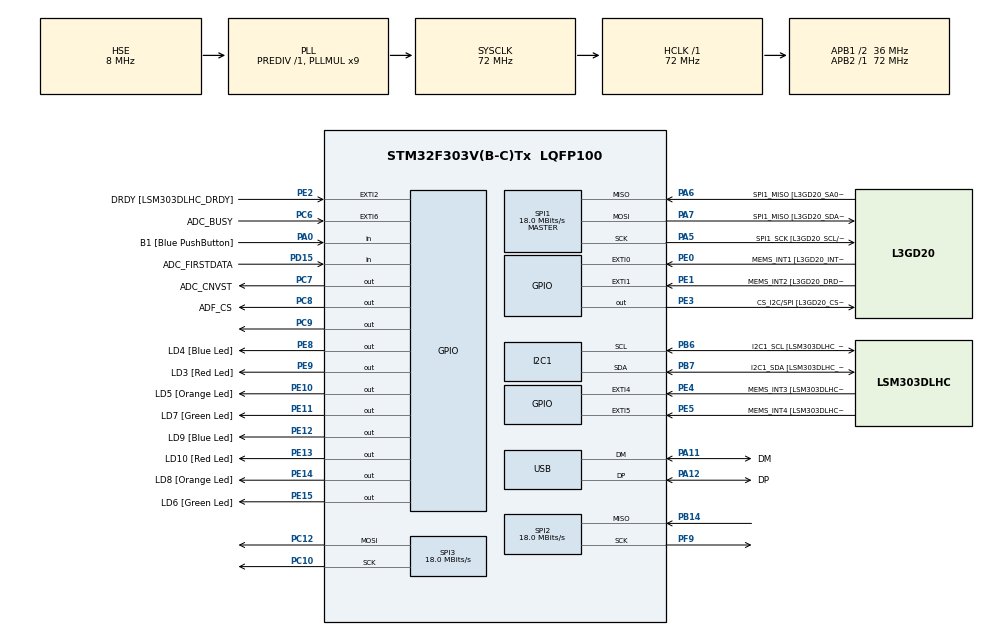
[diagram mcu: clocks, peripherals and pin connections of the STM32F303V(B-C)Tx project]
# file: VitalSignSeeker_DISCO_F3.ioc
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Dma.Request0=SPI2_RX
Dma.SPI2_RX.0.Direction=DMA_PERIPH_TO_MEMORY
Dma.SPI2_RX.0.Instance=DMA1_Channel4
Dma.SPI2_RX.0.MemDataAlignment=DMA_MDATAALIGN_HALFWORD
Dma.SPI2_RX.0.MemInc=DMA_MINC_ENABLE
Dma.SPI2_RX.0.Mode=DMA_NORMAL
Dma.SPI2_RX.0.PeriphDataAlignment=DMA_PDATAALIGN_HALFWORD
Dma.SPI2_RX.0.PeriphInc=DMA_PINC_DISABLE
Dma.SPI2_RX.0.Priority=DMA_PRIORITY_HIGH
FREERTOS.Tasks01=defaultTask,24,128,StartDefaultTask,Default,NULL,Dynamic,NULL,NULL;ADCTask,40,1024,StartTask02,Default,NULL,Dynamic,NULL,NULL;PLLTask,8,128,StartTask03,Default,NULL,Dynamic,NULL,NULL
FREERTOS.configTOTAL_HEAP_SIZE=8000
FREERTOS.configUSE_NEWLIB_REENTRANT=1
I2C1.Timing=0x00201D2B
I2C1.Timing-I2C=0x2000090E
Mcu.Family=STM32F3
Mcu.Name=STM32F303V(B-C)Tx
Mcu.Package=LQFP100
NVIC.DMA1_Channel4_IRQn=true\:5\:0\:false\:false\:true\:true\:false\:true\:true
NVIC.PriorityGroup=NVIC_PRIORITYGROUP_4
NVIC.SPI2_IRQn=true\:5\:0\:false\:false\:true\:true\:true\:true\:true
NVIC.TIM8_UP_IRQn=true\:15\:0\:false\:false\:true\:false\:false\:true\:true
NVIC.TimeBase=TIM8_UP_IRQn
NVIC.TimeBaseIP=TIM8
NVIC.USB_LP_CAN_RX0_IRQn=true\:5\:0\:false\:false\:true\:true\:false\:true\:true
PA0.GPIO_Label=B1 [Blue PushButton]
PA0.Signal=GPIO_Input
PA11.GPIO_Label=DM
PA11.Mode=Device
PA11.Signal=USB_DM
PA12.GPIO_Label=DP
PA12.Mode=Device
PA12.Signal=USB_DP
PA13.GPIO_Label=SWDIO
PA13.Mode=Serial_Wire
PA13.Signal=SYS_JTMS-SWDIO
PA14.GPIO_Label=SWCLK
PA14.Mode=Serial_Wire
PA14.Signal=SYS_JTCK-SWCLK
PA5.GPIO_Label=SPI1_SCK [L3GD20_SCL/SPC]
PA5.Mode=Full_Duplex_Master
PA5.Signal=SPI1_SCK
PA6.GPIO_Label=SPI1_MISO [L3GD20_SA0/SDO]
PA6.Mode=Full_Duplex_Master
PA6.Signal=SPI1_MISO
PA7.GPIO_Label=SPI1_MISO [L3GD20_SDA/SDI/SDO]
PA7.Mode=Full_Duplex_Master
PA7.Signal=SPI1_MOSI
PB14.Mode=RX_Only_Simplex_Unidirect_Master
PB14.Signal=SPI2_MISO
PB3.GPIO_Label=SWO
PB3.Signal=SYS_JTDO-TRACESWO
PB6.GPIO_Label=I2C1_SCL [LSM303DLHC_SCL]
PB6.GPIO_Pu=GPIO_PULLUP
PB6.Mode=I2C
PB6.Signal=I2C1_SCL
PB7.GPIO_Label=I2C1_SDA [LSM303DLHC_SDA]
PB7.GPIO_Pu=GPIO_PULLUP
PB7.Mode=I2C
PB7.Signal=I2C1_SDA
PC10.Mode=TX_Only_Simplex_Unidirect_Master
PC10.Signal=SPI3_SCK
PC12.Mode=TX_Only_Simplex_Unidirect_Master
PC12.Signal=SPI3_MOSI
PC14-OSC32_IN.GPIO_Label=OSC32_IN
PC14-OSC32_IN.Signal=RCC_OSC32_IN
PC15-OSC32_OUT.GPIO_Label=OSC32_OUT
PC15-OSC32_OUT.Signal=RCC_OSC32_OUT
PC6.GPIO_Label=ADC_BUSY
PC6.Signal=GPXTI6
PC7.GPIO_Label=ADC_CNVST
PC7.Signal=GPIO_Output
PC8.GPIO_Label=ADF_CS
PC8.Signal=GPIO_Output
PC9.Signal=GPIO_Output
PD15.GPIO_Label=ADC_FIRSTDATA
PD15.Signal=GPIO_Input
PE0.GPIO_Label=MEMS_INT1 [L3GD20_INT1]
PE0.GPIO_ModeDefaultEXTI=GPIO_MODE_EVT_RISING
PE0.Signal=GPXTI0
PE1.GPIO_Label=MEMS_INT2 [L3GD20_DRDY/INT2]
PE1.GPIO_ModeDefaultEXTI=GPIO_MODE_EVT_RISING
PE1.Signal=GPXTI1
PE10.GPIO_Label=LD5 [Orange Led]
PE10.Signal=GPIO_Output
PE11.GPIO_Label=LD7 [Green Led]
PE11.Signal=GPIO_Output
PE12.GPIO_Label=LD9 [Blue Led]
PE12.Signal=GPIO_Output
PE13.GPIO_Label=LD10 [Red Led]
PE13.Signal=GPIO_Output
PE14.GPIO_Label=LD8 [Orange Led]
PE14.Signal=GPIO_Output
PE15.GPIO_Label=LD6 [Green Led]
PE15.Signal=GPIO_Output
PE2.GPIO_Label=DRDY [LSM303DLHC_DRDY]
PE2.GPIO_ModeDefaultEXTI=GPIO_MODE_EVT_RISING
PE2.Signal=GPXTI2
PE3.GPIO_Label=CS_I2C/SPI [L3GD20_CS_I2C/SPI]
PE3.Signal=GPIO_Output
PE4.GPIO_Label=MEMS_INT3 [LSM303DLHC_INT1]
PE4.GPIO_ModeDefaultEXTI=GPIO_MODE_EVT_RISING
PE4.Signal=GPXTI4
PE5.GPIO_Label=MEMS_INT4 [LSM303DLHC_INT2]
PE5.GPIO_ModeDefaultEXTI=GPIO_MODE_EVT_RISING
PE5.Signal=GPXTI5
PE8.GPIO_Label=LD4 [Blue Led]
PE8.Signal=GPIO_Output
PE9.GPIO_Label=LD3 [Red Led]
PE9.Signal=GPIO_Output
PF0-OSC_IN.GPIO_Label=OSC_IN
PF0-OSC_IN.Mode=HSE-External-Clock-Source
PF0-OSC_IN.Signal=RCC_OSC_IN
PF1-OSC_OUT.GPIO_Label=OSC_OUT
PF1-OSC_OUT.Signal=RCC_OSC_OUT
PF9.Mode=RX_Only_Simplex_Unidirect_Master
PF9.Signal=SPI2_SCK
ProjectManager.HeapSize=0x200
ProjectManager.StackSize=0x400
ProjectManager.TargetToolchain=STM32CubeIDE
RCC.AHBFreq_Value=72000000
RCC.APB1CLKDivider=RCC_HCLK_DIV2
RCC.APB1Freq_Value=36000000
RCC.APB1TimFreq_Value=72000000
RCC.APB2Freq_Value=72000000
RCC.APB2TimFreq_Value=72000000
RCC.CortexFreq_Value=72000000
RCC.HCLKFreq_Value=72000000
RCC.HSE_VALUE=8000000
RCC.HSI_VALUE=8000000
RCC.LSE_VALUE=32768
RCC.PLLMUL=RCC_PLL_MUL9
RCC.PRESCALERUSB=RCC_USBCLKSOURCE_PLL_DIV1_5
RCC.SYSCLKFreq_VALUE=72000000
RCC.SYSCLKSourceVirtual=RCC_SYSCLKSOURCE_PLLCLK
RCC.USBFreq_Value=48000000
SPI1.BaudRatePrescaler=SPI_BAUDRATEPRESCALER_4
SPI1.BaudRatePrescaler-Full_Duplex_Master=SPI_BAUDRATEPRESCALER_2
SPI1.CalculateBaudRate=18.0 MBits/s
SPI1.CalculateBaudRate-Full_Duplex_Master=24.0 MBits/s
SPI1.DataSize=SPI_DATASIZE_16BIT
SPI1.Direction=SPI_DIRECTION_2LINES
SPI1.Mode=SPI_MODE_MASTER
SPI1.Mode-Full_Duplex_Master=SPI_MODE_MASTER
SPI1.VirtualType=VM_MASTER
SPI2.CalculateBaudRate=18.0 MBits/s
SPI2.DataSize=SPI_DATASIZE_16BIT
SPI2.Direction=SPI_DIRECTION_2LINES_RXONLY
SPI2.Mode=SPI_MODE_MASTER
SPI2.VirtualType=VM_MASTER
SPI3.CalculateBaudRate=18.0 MBits/s
SPI3.DataSize=SPI_DATASIZE_8BIT
SPI3.Direction=SPI_DIRECTION_2LINES
SPI3.Mode=SPI_MODE_MASTER
SPI3.VirtualType=VM_MASTER
USB_DEVICE.CLASS_NAME_FS=CDC
USB_DEVICE.PRODUCT_STRING_CDC_FS=STM32 VitalSignSeeker
USB_DEVICE.VirtualMode=Cdc
USB_DEVICE.VirtualModeFS=Cdc_FS
VP_FREERTOS_VS_CMSIS_V2.Mode=CMSIS_V2
VP_SYS_VS_tim8.Mode=TIM8
VP_USB_DEVICE_VS_USB_DEVICE_CDC_FS.Mode=CDC_FS
board=STM32F3DISCOVERY

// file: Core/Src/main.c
/* USER CODE BEGIN Header */
/**
  ******************************************************************************
  * @file           : main.c
  * @brief          : Main program body
  ******************************************************************************
  * @attention
  *
  * Copyright (c) 2025 STMicroelectronics.
  * All rights reserved.
  *
  * This software is licensed under terms that can be found in the LICENSE file
  * in the root directory of this software component.
  * If no LICENSE file comes with this software, it is provided AS-IS.
  *
  ******************************************************************************
  */
/* USER CODE END Header */
#include "main.h"
#include "cmsis_os.h"
#include "dma.h"
#include "i2c.h"
#include "spi.h"
#include "usb_device.h"
#include "gpio.h"

void SystemClock_Config(void);
void MX_FREERTOS_Init(void);

int main(void)
{

  /* MCU Configuration--------------------------------------------------------*/

  /* Reset of all peripherals, Initializes the Flash interface and the Systick. */
  HAL_Init();

  /* Configure the system clock */
  SystemClock_Config();

  /* Initialize all configured peripherals */
  MX_GPIO_Init();
  MX_DMA_Init();
  MX_I2C1_Init();
  MX_SPI1_Init();
  MX_SPI2_Init();
  MX_SPI3_Init();

  /* Init scheduler */
  osKernelInitialize();

  /* Call init function for freertos objects (in cmsis_os2.c) */
  MX_FREERTOS_Init();

  /* Start scheduler */
  osKernelStart();

  /* We should never get here as control is now taken by the scheduler */

  /* Infinite loop */
  while (1)
  {

  }
}

void SystemClock_Config(void)
{
  RCC_OscInitTypeDef RCC_OscInitStruct = {0};
  RCC_ClkInitTypeDef RCC_ClkInitStruct = {0};
  RCC_PeriphCLKInitTypeDef PeriphClkInit = {0};

  /** Initializes the RCC Oscillators according to the specified parameters
  * in the RCC_OscInitTypeDef structure.
  */
  RCC_OscInitStruct.OscillatorType = RCC_OSCILLATORTYPE_HSI|RCC_OSCILLATORTYPE_HSE;
  RCC_OscInitStruct.HSEState = RCC_HSE_BYPASS;
  RCC_OscInitStruct.HSEPredivValue = RCC_HSE_PREDIV_DIV1;
  RCC_OscInitStruct.HSIState = RCC_HSI_ON;
  RCC_OscInitStruct.HSICalibrationValue = RCC_HSICALIBRATION_DEFAULT;
  RCC_OscInitStruct.PLL.PLLState = RCC_PLL_ON;
  RCC_OscInitStruct.PLL.PLLSource = RCC_PLLSOURCE_HSE;
  RCC_OscInitStruct.PLL.PLLMUL = RCC_PLL_MUL9;
  if (HAL_RCC_OscConfig(&RCC_OscInitStruct) != HAL_OK)
  {
    Error_Handler();
  }

  /** Initializes the CPU, AHB and APB buses clocks
  */
  RCC_ClkInitStruct.ClockType = RCC_CLOCKTYPE_HCLK|RCC_CLOCKTYPE_SYSCLK
                              |RCC_CLOCKTYPE_PCLK1|RCC_CLOCKTYPE_PCLK2;
  RCC_ClkInitStruct.SYSCLKSource = RCC_SYSCLKSOURCE_PLLCLK;
  RCC_ClkInitStruct.AHBCLKDivider = RCC_SYSCLK_DIV1;
  RCC_ClkInitStruct.APB1CLKDivider = RCC_HCLK_DIV2;
  RCC_ClkInitStruct.APB2CLKDivider = RCC_HCLK_DIV1;

  if (HAL_RCC_ClockConfig(&RCC_ClkInitStruct, FLASH_LATENCY_2) != HAL_OK)
  {
    Error_Handler();
  }
  PeriphClkInit.PeriphClockSelection = RCC_PERIPHCLK_USB|RCC_PERIPHCLK_I2C1;
  PeriphClkInit.I2c1ClockSelection = RCC_I2C1CLKSOURCE_HSI;
  PeriphClkInit.USBClockSelection = RCC_USBCLKSOURCE_PLL_DIV1_5;
  if (HAL_RCCEx_PeriphCLKConfig(&PeriphClkInit) != HAL_OK)
  {
    Error_Handler();
  }
}

void HAL_TIM_PeriodElapsedCallback(TIM_HandleTypeDef *htim)
{
  if (htim->Instance == TIM8) {
    HAL_IncTick();
  }
}

void Error_Handler(void)
{
  __disable_irq();
  while (1)
  {
  }
}

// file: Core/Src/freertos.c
/* USER CODE BEGIN Header */
/**
  ******************************************************************************
  * File Name          : freertos.c
  * Description        : Code for freertos applications
  ******************************************************************************
  * @attention
  *
  * Copyright (c) 2025 STMicroelectronics.
  * All rights reserved.
  *
  * This software is licensed under terms that can be found in the LICENSE file
  * in the root directory of this software component.
  * If no LICENSE file comes with this software, it is provided AS-IS.
  *
  ******************************************************************************
  */
/* USER CODE END Header */

#include "FreeRTOS.h"
#include "task.h"
#include "main.h"
#include "cmsis_os.h"

/* USER CODE BEGIN Includes */
#include "usbd_cdc_if.h"
#include "string.h"
#include "stdbool.h"
/* USER CODE END Includes */

/* USER CODE BEGIN Variables */
uint8_t DataToSend[40]; // Tablica zawierajaca dane do wyslania
uint8_t MessageCounter = 0; // Licznik wyslanych wiadomosci
uint8_t MessageLength = 0; // Zawiera dlugosc wysylanej wiadomosci

extern uint8_t ReceivedData[40]; // Tablica przechowujaca odebrane dane
extern uint8_t ReceivedDataFlag; // Flaga informujaca o odebraniu danych
/* USER CODE END Variables */
/* Definitions for defaultTask */
osThreadId_t defaultTaskHandle;
const osThreadAttr_t defaultTask_attributes = {
  .name = "defaultTask",
  .stack_size = 128 * 4,
  .priority = (osPriority_t) osPriorityNormal,
};
/* Definitions for ADCTask */
osThreadId_t ADCTaskHandle;
const osThreadAttr_t ADCTask_attributes = {
  .name = "ADCTask",
  .stack_size = 1024 * 4,
  .priority = (osPriority_t) osPriorityHigh,
};
/* Definitions for PLLTask */
osThreadId_t PLLTaskHandle;
const osThreadAttr_t PLLTask_attributes = {
  .name = "PLLTask",
  .stack_size = 128 * 4,
  .priority = (osPriority_t) osPriorityLow,
};

void StartDefaultTask(void *argument);
void StartTask02(void *argument);
void StartTask03(void *argument);

extern void MX_USB_DEVICE_Init(void);
void MX_FREERTOS_Init(void); /* (MISRA C 2004 rule 8.1) */

void MX_FREERTOS_Init(void) {

  /* Create the thread(s) */
  /* creation of defaultTask */
  defaultTaskHandle = osThreadNew(StartDefaultTask, NULL, &defaultTask_attributes);

  /* creation of ADCTask */
  ADCTaskHandle = osThreadNew(StartTask02, NULL, &ADCTask_attributes);

  /* creation of PLLTask */
  PLLTaskHandle = osThreadNew(StartTask03, NULL, &PLLTask_attributes);

}

void StartDefaultTask(void *argument)
{
  /* init code for USB_DEVICE */
  MX_USB_DEVICE_Init();
  /* USER CODE BEGIN StartDefaultTask */
  uint16_t data[100000][4];
  for(int i=0; i<100000; i++){
	  uint64_t tmp = i + i<<16 + i<<32 + i<<48;
	  memcpy(data+i, &tmp, 8);
  }
  /* Infinite loop */
  for(;;)
  {
	  if(ReceivedDataFlag == 2){
		  ReceivedDataFlag = 0;
		  for(int i=0; i<100000; i++){
			  uint8_t TmpBuffer[11];
			  mempcy(TmpBuffer, i, 3);
			  memcpy(TmpBuffer+3, data, 8);
			  CDC_Transmit_FS(TmpBuffer, 11);
		  }
	  }
	  else if(ReceivedDataFlag == 1){
		  MessageLength = sprintf(DataToSend, "Odebrano: %s\n\r", ReceivedData);
		  CDC_Transmit_FS(DataToSend, MessageLength);
	  }
//	  HAL_Delay(1000);
    osDelay(1000);
  }
  /* USER CODE END StartDefaultTask */
}

void StartTask02(void *argument)
{
  for(;;)
  {
    osDelay(1);
  }
}

void StartTask03(void *argument)
{
  for(;;)
  {
    osDelay(1);
  }
}
